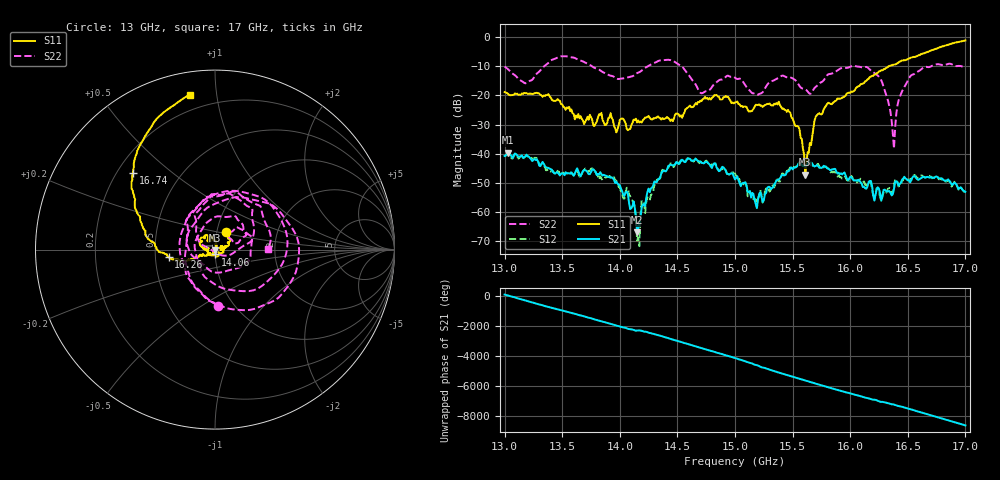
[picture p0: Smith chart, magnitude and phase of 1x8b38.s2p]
!Keysight Technologies,P9374A,MY57211807,A.19.30.04
!Date: Friday, May 08, 2026 14:28:03
!Correction: S11(C  2-Port  )
!S21(C  2-Port  )
!S12(C  2-Port  )
!S22(C  2-Port  )
!S2P File: Measurements: S11, S21, S12, S22:
# Hz S  dB  R 50
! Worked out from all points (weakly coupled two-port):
!   401 points, 13 GHz to 17 GHz, reference 50 ohm
!   highest |S21| = -39.56 dB at 13.03 GHz (marker M1); lowest = -66.8 dB at 14.15 GHz (marker M2)
!   lowest |S11| = -47.2 dB at 15.61 GHz (marker M3), VSWR 1.01, Z = 49.9 - j0.421 ohm
!   |S11| at or under -10 dB: start of sweep to 16.34 GHz
!   |S22| runs from -38.2 to -6.6 dB; largest |S21 - S12| = 0.00095
!   S11 on the Smith chart (normalised r, x): 13 GHz: 1.10, +0.22; 14.06 GHz: 1.00, -0.05; 16.26 GHz: 0.59, -0.05; 16.74 GHz: 0.26, +0.37; 17 GHz: 0.12, +0.84
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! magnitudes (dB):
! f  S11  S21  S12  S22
! 13 GHz  -18.8  -40.8  -40.9  -10.1
! 13.03 GHz  -19.4  -39.6  -39.7  -11.0
! 13.19 GHz  -19.2  -40.3  -40.5  -15.7
! 13.47 GHz  -21.7  -46.9  -46.1  -6.8
! 13.67 GHz  -28.1  -46.7  -47.0  -8.2
! 14.06 GHz  -31.4  -53.0  -51.6  -13.9
! 14.15 GHz  -29.3  -66.8  -69.7  -12.4
! 14.34 GHz  -27.6  -48.6  -48.7  -8.1
! 14.71 GHz  -21.9  -43.1  -42.9  -19.3
! 15 GHz  -22.4  -48.8  -46.8  -13.9
! 15.18 GHz  -23.2  -57.2  -55.6  -19.4
! 15.46 GHz  -24.9  -46.0  -45.6  -14.0
! 15.61 GHz  -47.2  -44.4  -44.3  -17.9
! 15.67 GHz  -34.3  -43.3  -44.0  -18.8
! 15.79 GHz  -23.6  -44.5  -44.3  -13.6
! 16.02 GHz  -18.7  -48.6  -48.1  -9.9
! 16.26 GHz  -11.7  -53.8  -55.1  -14.1
! 16.34 GHz  -10.0  -52.8  -51.7  -23.8
! 16.38 GHz  -9.5  -52.1  -50.8  -38.2
! 16.51 GHz  -7.3  -49.1  -48.7  -14.2
! 16.74 GHz  -4.1  -47.8  -48.1  -9.4
! 17 GHz  -1.2  -53.0  -53.1  -10.6
